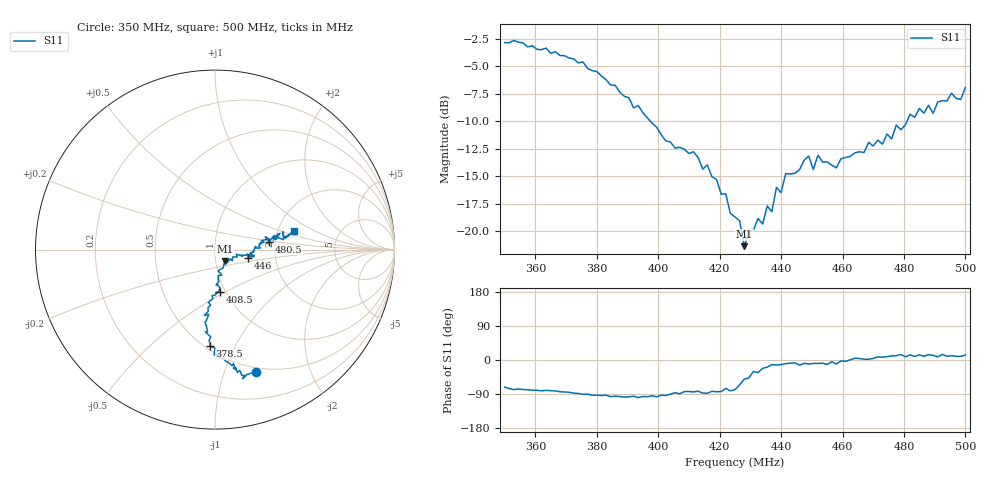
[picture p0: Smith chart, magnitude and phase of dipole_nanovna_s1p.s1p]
# HZ S RI R 50
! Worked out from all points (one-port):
!   101 points, 350 MHz to 500 MHz, reference 50 ohm
!   lowest |S11| = -21.4 dB at 428 MHz (marker M1), VSWR 1.19, Z = 55.2 - j7.35 ohm
!   |S11| at or under -10 dB: 397.4 MHz to 481 MHz (83.63 MHz wide, 19 % of centre)
!   S11 on the Smith chart (normalised r, x): 350 MHz: 0.46, -1.29; 378.5 MHz: 0.53, -0.80; 408.5 MHz: 0.94, -0.47; 446 MHz: 1.45, -0.13; 480.5 MHz: 1.85, +0.18; 500 MHz: 2.44, +0.63
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3.5e8  0.2291 -0.6806
3.53e8  0.153 -0.7192
3.695e8  0.0608 -0.6239
3.785e8  -0.0285 -0.5356
3.875e8  -0.048 -0.4247
4.07e8  0.0032 -0.2402
4.085e8  0.0271 -0.2339
4.16e8  0.0073 -0.1997
4.25e8  0.0236 -0.1135
4.265e8  0.0456 -0.1017
4.28e8  0.054 -0.0661
4.34e8  0.0997 -0.0406
4.355e8  0.1231 -0.0417
4.37e8  0.1197 -0.0258
4.385e8  0.1539 -0.036
4.4e8  0.146 -0.0315
4.415e8  0.1796 -0.0305
4.445e8  0.1815 -0.0234
4.46e8  0.1848 -0.0443
4.49e8  0.2155 -0.0406
4.505e8  0.1881 -0.0302
4.52e8  0.2185 -0.0346
4.58e8  0.1906 -0.0352
4.625e8  0.2185 0.00171
4.805e8  0.301 0.0451
4.82e8  0.3303 0.0794
4.895e8  0.3351 0.0722
5e8  0.4374 0.1038
